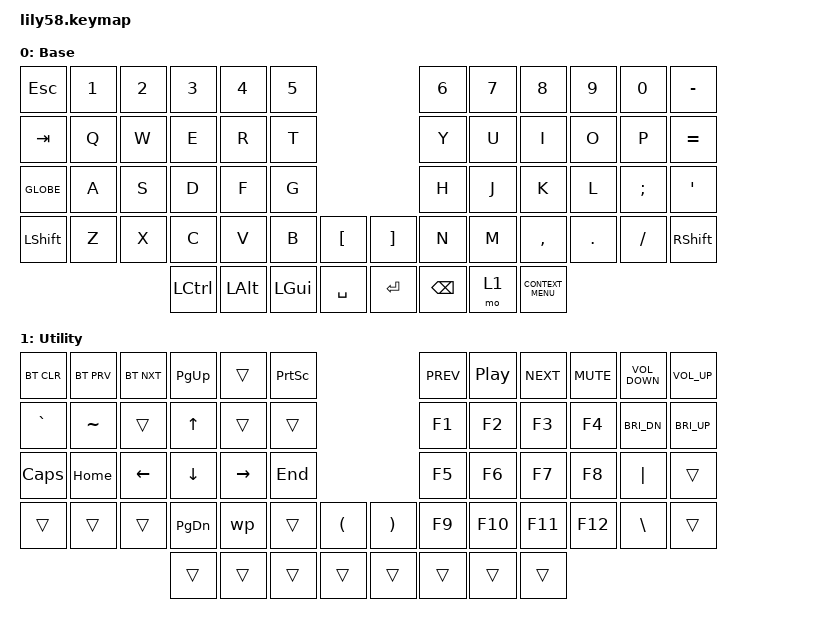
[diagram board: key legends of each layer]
/*
 * Copyright (c) 2020 The ZMK Contributors
 *
 * SPDX-License-Identifier: MIT
 */

#include <behaviors.dtsi>
#include <dt-bindings/zmk/bt.h>
#include <dt-bindings/zmk/keys.h>

/ {
    macros {
        wp: wp {
            compatible = "zmk,behavior-macro";
            #binding-cells = <0>;
            bindings = <&kp B &kp LS(K) &kp LS(C) &kp LS(E) &kp N9 &kp EXCL &kp H &kp A &kp N5 &kp P &kp V &kp LS(Z) &kp N6 &kp LS(Q) &kp J &kp N7>;
            label = "wp";
        };
    };

    keymap {
        compatible = "zmk,keymap";

        default_layer {
            // ------------------------------------------------------------------------------------------------------------
            // |  ESC  |  1  |  2  |  3   |  4   |  5   |                   |  6   |  7    |  8    |  9   |   0   |   `   |
            // |  TAB  |  Q  |  W  |  E   |  R   |  T   |                   |  Y   |  U    |  I    |  O   |   P   |   -   |
            // |  CTRL |  A  |  S  |  D   |  F   |  G   |                   |  H   |  J    |  K    |  L   |   ;   |   '   |
            // | SHIFT |  Z  |  X  |  C   |  V   |  B   |   "["  |  |  "]"  |  N   |  M    |  ,    |  .   |   /   | SHIFT |
            //                     | ALT  | GUI  | LOWER|  SPACE |  | ENTER | RAISE| BSPC  | GUI   |

            display-name = "Base";
            bindings = <
&kp ESC    &kp N1  &kp N2  &kp N3            &kp N4    &kp N5                               &kp N6         &kp N7  &kp N8              &kp N9   &kp N0    &kp MINUS
&kp TAB    &kp Q   &kp W   &kp E             &kp R     &kp T                                &kp Y          &kp U   &kp I               &kp O    &kp P     &kp EQUAL
&kp GLOBE  &kp A   &kp S   &kp D             &kp F     &kp G                                &kp H          &kp J   &kp K               &kp L    &kp SEMI  &kp SQT
&kp LSHFT  &kp Z   &kp X   &kp C             &kp V     &kp B         &kp LBKT     &kp RBKT  &kp N          &kp M   &kp COMMA           &kp DOT  &kp FSLH  &kp RSHFT
                           &kp LEFT_CONTROL  &kp LALT  &kp LEFT_GUI  &kp SPACE    &kp RET   &kp BACKSPACE  &mo 1   &kp K_CONTEXT_MENU
            >;
        };

        custom_layer {
            display-name = "Utility";
            bindings = <
&bt BT_CLR    &bt BT_PRV  &bt BT_NXT      &kp PAGE_UP     &trans           &kp PRINTSCREEN                                                 &kp C_PREV  &kp C_PP  &kp C_NEXT  &kp C_MUTE  &kp C_VOLUME_DOWN  &kp C_VOLUME_UP
&kp GRAVE     &kp TILDE   &trans          &kp UP_ARROW    &trans           &trans                                                          &kp F1      &kp F2    &kp F3      &kp F4      &kp C_BRI_DN       &kp C_BRI_UP
&kp CAPSLOCK  &kp HOME    &kp LEFT_ARROW  &kp DOWN_ARROW  &kp RIGHT_ARROW  &kp END                                                         &kp F5      &kp F6    &kp F7      &kp F8      &kp PIPE           &trans
&trans        &trans      &trans          &kp PAGE_DOWN   &wp              &trans           &kp LEFT_PARENTHESIS    &kp RIGHT_PARENTHESIS  &kp F9      &kp F10   &kp F11     &kp F12     &kp BSLH           &trans
                                          &trans          &trans           &trans           &trans                  &trans                 &trans      &trans    &trans
            >;
        };

        extra_1 {
            status = "reserved";
        };

        extra_2 {
            status = "reserved";
        };

        extra_3 {
            status = "reserved";
        };
    };
};
